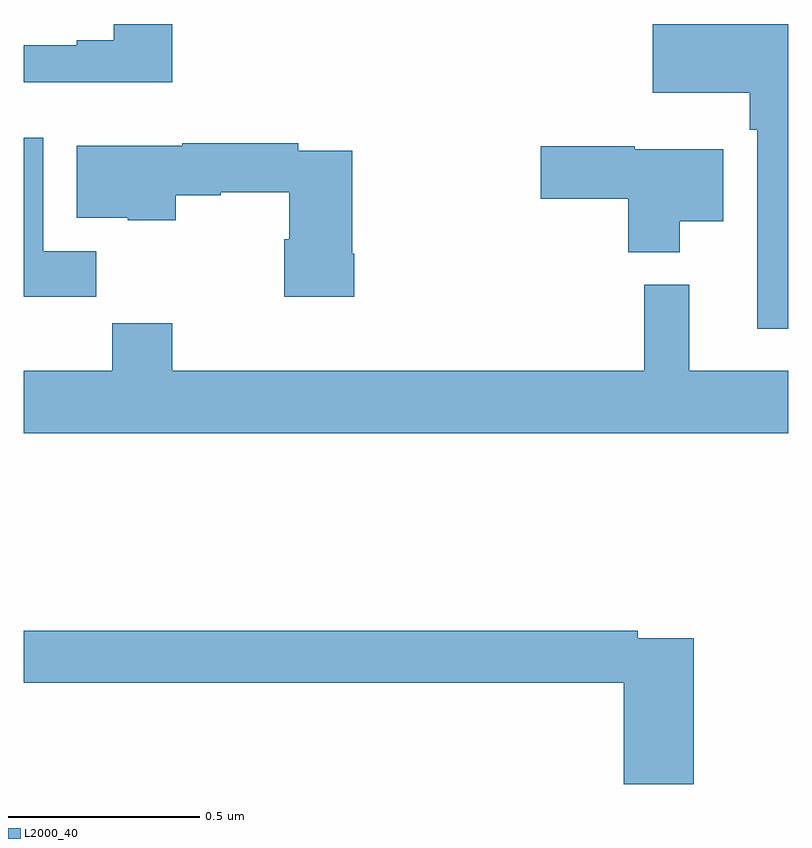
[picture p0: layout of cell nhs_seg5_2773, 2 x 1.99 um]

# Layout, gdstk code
import gdstk
lib = gdstk.Library(unit=1e-6, precision=1e-09)
def P(c, l, *ps):  # polygons
    for p in ps: c.add(gdstk.Polygon(p, *l))
L2000_40 = (2000, 40)

nhs_seg5_2773 = lib.new_cell('nhs_seg5_2773')
P(nhs_seg5_2773, L2000_40, [(148.388,889.799),(148.235,889.799),(148.235,889.756),(148.139,889.756),(148.139,889.743),(148,889.743),(148,889.646),(148.388,889.646)],
  [(150,889.799),(149.645,889.799),(149.645,889.619),(149.899,889.619),(149.899,889.523),(149.919,889.523),(149.919,889.002),(150,889.002)],
  [(148.19,889.204),(148.051,889.204),(148.051,889.501),(148,889.501),(148,889.086),(148.19,889.086)],
  [(148.865,889.198),(148.86,889.198),(148.86,889.467),(148.718,889.467),(148.718,889.487),(148.415,889.487),(148.415,889.48),(148.139,889.48),(148.139,889.292),(148.272,889.292),(148.272,889.286),(148.398,889.286),(148.398,889.351),(148.515,889.351),(148.515,889.359),(148.694,889.359),(148.694,889.236),(148.682,889.236),(148.682,889.086),(148.865,889.086)],
  [(149.716,889.283),(149.83,889.283),(149.83,889.471),(149.598,889.471),(149.598,889.479),(149.352,889.479),(149.352,889.342),(149.582,889.342),(149.582,889.202),(149.716,889.202)],
  [(150,888.892),(149.741,888.892),(149.741,889.117),(149.623,889.117),(149.623,888.892),(148.388,888.892),(148.388,889.016),(148.231,889.016),(148.231,888.892),(148,888.892),(148,888.728),(150,888.728)],
  [(149.753,888.192),(149.606,888.192),(149.606,888.212),(148,888.212),(148,888.076),(149.57,888.076),(149.57,887.811),(149.753,887.811)])

lib.write_gds('nhs_seg5_2773.gds')
